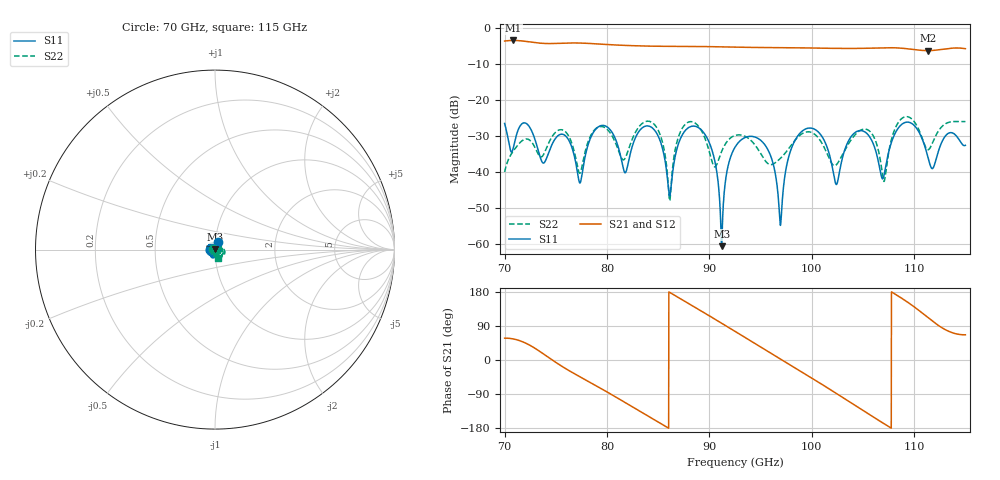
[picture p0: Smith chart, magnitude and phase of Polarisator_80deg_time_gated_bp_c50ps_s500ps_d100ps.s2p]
# Hz S RI R 1.000000
! Metas.Vna.Tools, 2.4.7898.19887
! Metas.Vna.Data, 2.4.7898.19873
! Created: UTC 2021.09.30 14:31:00
! FREQ  re:S1,1  im:S1,1  re:S2,1  im:S2,1  re:S1,2  im:S1,2  re:S2,2  im:S2,2
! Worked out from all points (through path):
!   2251 points, 70 GHz to 115 GHz, reference 1 ohm
!   highest |S21| = -3.55 dB at 70.86 GHz (marker M1); lowest = -6.4 dB at 111.3 GHz (marker M2)
!   lowest |S11| = -60.5 dB at 91.2 GHz (marker M3), VSWR 1.00, Z = 1 + j0.00183 ohm
!   |S11| at or under -10 dB: start of sweep to end of sweep
!   |S22| runs from -48.0 to -24.6 dB; largest |S21 - S12| = 0.072
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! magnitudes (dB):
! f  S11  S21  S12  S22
! 70 GHz  -26.5  -3.7  -3.7  -40.0
! 70.86 GHz  -33.2  -3.6  -3.5  -34.1
! 75.76 GHz  -29.6  -4.3  -4.3  -28.4
! 77.5 GHz  -41.7  -4.3  -4.2  -39.2
! 79.24 GHz  -27.3  -4.5  -4.5  -27.4
! 81.76 GHz  -40.2  -4.9  -4.9  -36.2
! 85 GHz  -30.0  -5.2  -5.1  -28.4
! 86.12 GHz  -46.6  -5.2  -5.1  -48.0
! 87.4 GHz  -29.5  -5.2  -5.1  -27.6
! 89.42 GHz  -29.0  -5.2  -5.2  -29.6
! 91.2 GHz  -60.5  -5.3  -5.3  -34.3
! 92.5 GHz  -33.1  -5.4  -5.4  -29.9
! 95.44 GHz  -32.5  -5.5  -5.5  -36.8
! 96.94 GHz  -54.8  -5.5  -5.5  -36.2
! 98.04 GHz  -33.2  -5.6  -5.5  -32.4
! 100 GHz  -27.9  -5.7  -5.6  -29.1
! 102.4 GHz  -43.4  -5.7  -5.7  -38.0
! 104.4 GHz  -28.8  -5.8  -5.7  -29.3
! 107.5 GHz  -34.5  -5.6  -5.5  -34.6
! 109.2 GHz  -26.2  -5.8  -5.7  -24.7
! 111.3 GHz  -35.6  -6.4  -6.2  -33.8
! 115 GHz  -32.6  -5.8  -5.7  -26.0
